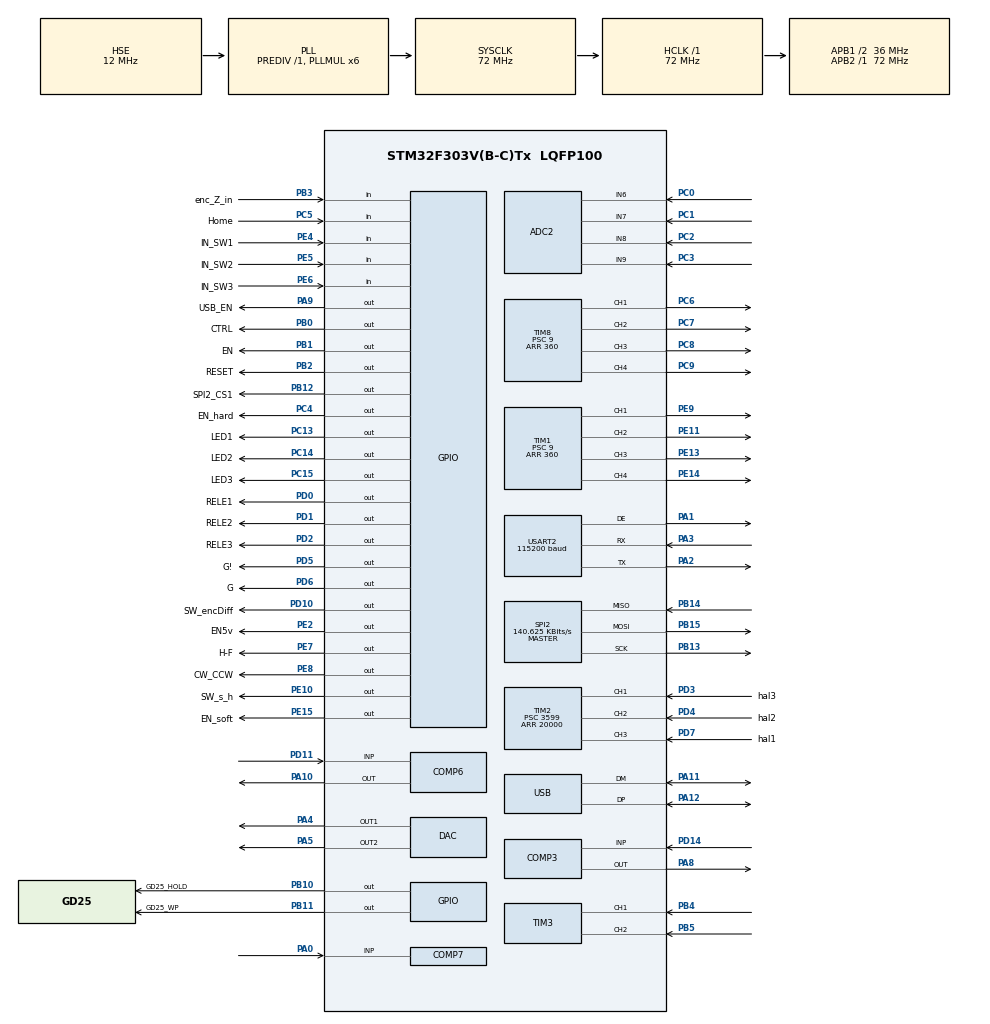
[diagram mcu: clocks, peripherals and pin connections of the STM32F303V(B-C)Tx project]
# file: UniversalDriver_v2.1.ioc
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ADC1.Channel-0\#ChannelRegularConversion=ADC_CHANNEL_6
ADC1.NbrOfConversionFlag=1
ADC1.Offset-0\#ChannelRegularConversion=0
ADC1.OffsetNumber-0\#ChannelRegularConversion=ADC_OFFSET_NONE
ADC1.Rank-0\#ChannelRegularConversion=1
ADC1.SamplingTime-0\#ChannelRegularConversion=ADC_SAMPLETIME_1CYCLE_5
ADC1.master=1
ADC2.Channel-0\#ChannelRegularConversion=ADC_CHANNEL_9
ADC2.NbrOfConversionFlag=1
ADC2.Offset-0\#ChannelRegularConversion=0
ADC2.OffsetNumber-0\#ChannelRegularConversion=ADC_OFFSET_NONE
ADC2.Rank-0\#ChannelRegularConversion=1
ADC2.SamplingTime-0\#ChannelRegularConversion=ADC_SAMPLETIME_1CYCLE_5
COMP3.InvertingInput=COMP_INVERTINGINPUT_DAC1_CH2
COMP6.InvertingInput=COMP_INVERTINGINPUT_DAC1_CH2
COMP7.InvertingInput=COMP_INVERTINGINPUT_DAC1_CH2
FREERTOS.INCLUDE_vTaskDelayUntil=1
FREERTOS.Tasks01=mainTask,0,512,MainTask,Default,NULL,Dynamic,NULL,NULL;modBus,0,512,ModBus,Default,NULL,Dynamic,NULL,NULL;accel,0,128,Accel,Default,NULL,Dynamic,NULL,NULL
FREERTOS.configTOTAL_HEAP_SIZE=20480
Mcu.Family=STM32F3
Mcu.Name=STM32F303V(B-C)Tx
Mcu.Package=LQFP100
NVIC.PriorityGroup=NVIC_PRIORITYGROUP_4
NVIC.TIM1_TRG_COM_TIM17_IRQn=true\:5\:0\:false\:false\:true\:true\:true\:true
NVIC.TIM2_IRQn=true\:5\:0\:false\:false\:true\:true\:true\:true
NVIC.TIM6_DAC_IRQn=true\:5\:0\:false\:false\:true\:true\:true\:true
NVIC.TIM7_IRQn=true\:0\:0\:false\:false\:true\:false\:false\:true
NVIC.TimeBase=TIM7_IRQn
NVIC.TimeBaseIP=TIM7
NVIC.USART2_IRQn=true\:5\:0\:false\:false\:true\:true\:true\:true
NVIC.USB_LP_CAN_RX0_IRQn=true\:5\:0\:false\:false\:true\:true\:false\:true
PA0.Mode=INP
PA0.Signal=COMP7_INP
PA1.Mode=Hardware Flow Control (RS485)
PA1.Signal=USART2_DE
PA10.Mode=ExternalOutput
PA10.Signal=COMP6_OUT
PA11.Mode=Device
PA11.Signal=USB_DM
PA12.Mode=Device
PA12.Signal=USB_DP
PA13.Mode=Serial_Wire
PA13.Signal=SYS_JTMS-SWDIO
PA14.Mode=Serial_Wire
PA14.Signal=SYS_JTCK-SWCLK
PA2.Mode=Asynchronous
PA2.Signal=USART2_TX
PA3.Mode=Asynchronous
PA3.Signal=USART2_RX
PA4.Signal=COMP_DAC1_group
PA5.Signal=COMP_DAC2_group
PA6.Signal=TIM1_BKIN
PA7.Signal=S_TIM17_CH1
PA8.Mode=ExternalOutput
PA8.Signal=COMP3_OUT
PA9.GPIO_Label=USB_EN
PA9.Signal=GPIO_Output
PB0.GPIO_Label=CTRL
PB0.Signal=GPIO_Output
PB1.GPIO_Label=EN
PB1.Signal=GPIO_Output
PB10.GPIO_Label=GD25_HOLD
PB10.Signal=GPIO_Output
PB11.GPIO_Label=GD25_WP
PB11.Signal=GPIO_Output
PB12.GPIO_Label=SPI2_CS1
PB12.Signal=GPIO_Output
PB13.Mode=Full_Duplex_Master
PB13.Signal=SPI2_SCK
PB14.Mode=Full_Duplex_Master
PB14.Signal=SPI2_MISO
PB15.Mode=Full_Duplex_Master
PB15.Signal=SPI2_MOSI
PB2.GPIO_Label=RESET
PB2.Signal=GPIO_Output
PB3.GPIO_Label=enc_Z_in
PB3.Signal=GPIO_Input
PB4.Signal=S_TIM3_CH1
PB5.Signal=S_TIM3_CH2
PB6.Signal=TIM8_BKIN2
PB7.Signal=TIM8_BKIN
PB8.Signal=CAN_RX
PB9.Signal=CAN_TX
PC0.Signal=ADCx_IN6
PC1.Signal=ADCx_IN7
PC13.GPIO_Label=LED1
PC13.Signal=GPIO_Output
PC14-OSC32_IN.GPIO_Label=LED2
PC14-OSC32_IN.Signal=GPIO_Output
PC15-OSC32_OUT.GPIO_Label=LED3
PC15-OSC32_OUT.Signal=GPIO_Output
PC2.Signal=ADCx_IN8
PC3.Signal=ADCx_IN9
PC4.GPIO_Label=EN_hard
PC4.Signal=GPIO_Output
PC5.GPIO_Label=Home
PC5.Signal=GPIO_Input
PC6.Signal=S_TIM8_CH1
PC7.Signal=S_TIM8_CH2
PC8.Signal=S_TIM8_CH3
PC9.Signal=S_TIM8_CH4
PD0.GPIO_Label=RELE1
PD0.Signal=GPIO_Output
PD1.GPIO_Label=RELE2
PD1.Signal=GPIO_Output
PD10.GPIO_Label=SW_encDiff
PD10.Signal=GPIO_Output
PD11.Mode=INP
PD11.Signal=COMP6_INP
PD12.Signal=USART3_DE
PD14.Mode=INP
PD14.Signal=COMP3_INP
PD2.GPIO_Label=RELE3
PD2.Signal=GPIO_Output
PD3.GPIO_Label=hal3
PD3.Signal=S_TIM2_CH1_ETR
PD4.GPIO_Label=hal2
PD4.Signal=S_TIM2_CH2
PD5.GPIO_Label=G\!
PD5.Signal=GPIO_Output
PD6.GPIO_Label=G
PD6.Signal=GPIO_Output
PD7.GPIO_Label=hal1
PD7.Signal=S_TIM2_CH3
PD8.Signal=USART3_TX
PD9.Signal=USART3_RX
PE10.GPIO_Label=SW_s_h
PE10.Signal=GPIO_Output
PE11.Signal=S_TIM1_CH2
PE13.Signal=S_TIM1_CH3
PE14.Signal=S_TIM1_CH4
PE15.GPIO_Label=EN_soft
PE15.Signal=GPIO_Output
PE2.GPIO_Label=EN5v
PE2.Signal=GPIO_Output
PE4.GPIO_Label=IN_SW1
PE4.Signal=GPIO_Input
PE5.GPIO_Label=IN_SW2
PE5.Signal=GPIO_Input
PE6.GPIO_Label=IN_SW3
PE6.Signal=GPIO_Input
PE7.GPIO_Label=H-F
PE7.Signal=GPIO_Output
PE8.GPIO_Label=CW_CCW
PE8.Signal=GPIO_Output
PE9.Signal=S_TIM1_CH1
PF0-OSC_IN.Mode=HSE-External-Oscillator
PF0-OSC_IN.Signal=RCC_OSC_IN
PF1-OSC_OUT.Mode=HSE-External-Oscillator
PF1-OSC_OUT.Signal=RCC_OSC_OUT
ProjectManager.HeapSize=0x1000
ProjectManager.StackSize=0x400
ProjectManager.TargetToolchain=EWARM V8.32
RCC.AHBFreq_Value=72000000
RCC.APB1CLKDivider=RCC_HCLK_DIV2
RCC.APB1Freq_Value=36000000
RCC.APB1TimFreq_Value=72000000
RCC.APB2Freq_Value=72000000
RCC.APB2TimFreq_Value=72000000
RCC.CortexFreq_Value=72000000
RCC.HCLKFreq_Value=72000000
RCC.HSE_VALUE=12000000
RCC.HSI_VALUE=8000000
RCC.LSE_VALUE=32768
RCC.PLLMUL=RCC_PLL_MUL6
RCC.PRESCALERUSB=RCC_USBCLKSOURCE_PLL_DIV1_5
RCC.SYSCLKFreq_VALUE=72000000
RCC.SYSCLKSourceVirtual=RCC_SYSCLKSOURCE_PLLCLK
RCC.USBFreq_Value=48000000
SH.ADCx_IN6.0=ADC2_IN6,IN6-Single-Ended
SH.ADCx_IN6.1=ADC1_IN6,IN6-Single-Ended
SH.ADCx_IN7.0=ADC2_IN7,IN7-Single-Ended
SH.ADCx_IN7.1=ADC1_IN7,IN7-Single-Ended
SH.ADCx_IN8.0=ADC2_IN8,IN8-Single-Ended
SH.ADCx_IN8.1=ADC1_IN8,IN8-Single-Ended
SH.ADCx_IN9.0=ADC2_IN9,IN9-Single-Ended
SH.ADCx_IN9.1=ADC1_IN9,IN9-Single-Ended
SH.COMP_DAC1_group.0=DAC_OUT1,DAC_OUT1
SH.COMP_DAC2_group.0=DAC_OUT2,Enable_DAC_OUT2
SH.S_TIM17_CH1.0=TIM17_CH1
SH.S_TIM1_CH1.0=TIM1_CH1,PWM Generation1 CH1
SH.S_TIM1_CH2.0=TIM1_CH2,PWM Generation2 CH2
SH.S_TIM1_CH3.0=TIM1_CH3,PWM Generation3 CH3
SH.S_TIM1_CH4.0=TIM1_CH4,PWM Generation4 CH4
SH.S_TIM2_CH1_ETR.0=TIM2_CH1,Xored_Inputs_Hall_Sensor_Interface
SH.S_TIM2_CH2.0=TIM2_CH2,Xored_Inputs_Hall_Sensor_Interface
SH.S_TIM2_CH3.0=TIM2_CH3,Xored_Inputs_Hall_Sensor_Interface
SH.S_TIM3_CH1.0=TIM3_CH1,Encoder_Interface
SH.S_TIM3_CH2.0=TIM3_CH2,Encoder_Interface
SH.S_TIM8_CH1.0=TIM8_CH1,PWM Generation1 CH1
SH.S_TIM8_CH2.0=TIM8_CH2,PWM Generation2 CH2
SH.S_TIM8_CH3.0=TIM8_CH3,PWM Generation3 CH3
SH.S_TIM8_CH4.0=TIM8_CH4,PWM Generation4 CH4
SPI2.BaudRatePrescaler=SPI_BAUDRATEPRESCALER_256
SPI2.CLKPhase=SPI_PHASE_1EDGE
SPI2.CLKPolarity=SPI_POLARITY_LOW
SPI2.CalculateBaudRate=140.625 KBits/s
SPI2.DataSize=SPI_DATASIZE_8BIT
SPI2.Direction=SPI_DIRECTION_2LINES
SPI2.Mode=SPI_MODE_MASTER
SPI2.VirtualType=VM_MASTER
TIM1.Channel-PWM\ Generation1\ CH1=TIM_CHANNEL_1
TIM1.Channel-PWM\ Generation2\ CH2=TIM_CHANNEL_2
TIM1.Channel-PWM\ Generation3\ CH3=TIM_CHANNEL_3
TIM1.Channel-PWM\ Generation4\ CH4=TIM_CHANNEL_4
TIM1.Period=360
TIM1.Prescaler=9
TIM1.TIM_MasterOutputTrigger=TIM_TRGO_OC1REF
TIM2.AutoReloadPreload=TIM_AUTORELOAD_PRELOAD_ENABLE
TIM2.Period=20000
TIM2.Prescaler=3599
TIM4.Prescaler=1
TIM6.Prescaler=71
TIM8.Channel-PWM\ Generation1\ CH1=TIM_CHANNEL_1
TIM8.Channel-PWM\ Generation2\ CH2=TIM_CHANNEL_2
TIM8.Channel-PWM\ Generation3\ CH3=TIM_CHANNEL_3
TIM8.Channel-PWM\ Generation4\ CH4=TIM_CHANNEL_4
TIM8.Period=360
TIM8.Prescaler=9
USART2.BaudRate=115200
USART2.VirtualMode-Asynchronous=VM_ASYNC
USART2.VirtualMode-Hardware\ Flow\ Control\ (RS485)=VM_ASYNC
USB.low_power_enable=DISABLE
USB.lpm_enable=DISABLE
USB_DEVICE.CLASS_NAME_FS=CDC
USB_DEVICE.PRODUCT_STRING_CDC_FS=Motor Controller
USB_DEVICE.VirtualMode=Cdc
USB_DEVICE.VirtualModeFS=Cdc_FS
VP_COMP3_VS_DAC1OUT2.Mode=INM_DACOUT2
VP_COMP6_VS_DAC1OUT2.Mode=INM_DACOUT2
VP_COMP7_VS_DAC1OUT2.Mode=INM_DACOUT2
VP_FREERTOS_VS_CMSIS_V1.Mode=CMSIS_V1
VP_SYS_VS_tim7.Mode=TIM7
VP_TIM16_VS_ClockSourceINT.Mode=Enable_Timer
VP_TIM17_VS_ClockSourceINT.Mode=Enable_Timer
VP_TIM4_VS_ClockSourceITR.Mode=TriggerSource_ITR0
VP_TIM4_VS_ControllerModeClock.Mode=Clock Mode
VP_TIM6_VS_ClockSourceINT.Mode=Enable_Timer
VP_USB_DEVICE_VS_USB_DEVICE_CDC_FS.Mode=CDC_FS
board=custom

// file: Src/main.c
/* USER CODE BEGIN Header */
/**
******************************************************************************
* @file           : main.c
* @brief          : Main program body
******************************************************************************
* @attention
*
* <h2><center>&copy; Copyright (c) 2020 STMicroelectronics.
* All rights reserved.</center></h2>
*
* This software component is licensed by ST under Ultimate Liberty license
* SLA0044, the "License"; You may not use this file except in compliance with
* the License. You may obtain a copy of the License at:
*                             www.st.com/SLA0044
*
******************************************************************************
*/
/* USER CODE END Header */

#include "main.h"
#include "cmsis_os.h"
#include "adc.h"
#include "comp.h"
#include "dac.h"
#include "spi.h"
#include "tim.h"
#include "usart.h"
#include "usb_device.h"
#include "gpio.h"

/* USER CODE BEGIN Includes */
#include "motor.hpp"
#include "flash.h"
#include "Delay_us_DWT.h"
#include "LED.h"
/* USER CODE END Includes */

/* USER CODE BEGIN PV */
char str_rx[21]; // для usb
uint32_t count_tic = 0; //для замеров времены выполнения кода
extern TIM_HandleTypeDef htim3;
settings_t settings = {115200, 0x0D, 0};

//step_motor stepper(&hdac, DAC_CHANNEL_1, &htim2, &htim1, &htim6);
BLDC_motor BLDC(&htim8, &htim1, &htim2, &htim3);
led LED_rs485;
led LED_error;
led LED_OSstart;

base_motor *pMotor;
/* USER CODE END PV */

void SystemClock_Config(void);
void MX_FREERTOS_Init(void);

int main(void)
{

  /* MCU Configuration--------------------------------------------------------*/

  /* Reset of all peripherals, Initializes the Flash interface and the Systick. */
  HAL_Init();

  /* Configure the system clock */
  SystemClock_Config();

  /* Initialize all configured peripherals */
  MX_GPIO_Init();
  MX_ADC1_Init();
  MX_ADC2_Init();
  MX_DAC_Init();
  MX_SPI2_Init();
  MX_TIM1_Init();
  MX_TIM2_Init();
  MX_TIM3_Init();
  MX_TIM8_Init();
  MX_USART2_UART_Init();
  MX_COMP3_Init();
  MX_COMP6_Init();
  MX_COMP7_Init();
  MX_TIM4_Init();
  MX_TIM6_Init();
  MX_TIM16_Init();
  MX_TIM17_Init();
  /* USER CODE BEGIN 2 */
  DWT_Init();

  HAL_GPIO_WritePin(EN5v_GPIO_Port, EN5v_Pin, GPIO_PIN_SET); // on 5v

  Flash_ReadParams(&settings, StartSettingsAddres);

  if((settings.BaudRate == 0) | (settings.BaudRate == 0xFFFFFFFF))
    {

      settings.BaudRate = 115200;
      settings.SlaveAddress = 0x0D;
      settings.motorType = 0;
      FLASH_WriteSettings(settings, StartSettingsAddres);
    }
   //HAL_TIM_PWM_Start_IT(&htim17, TIM_CHANNEL_1); // start PWM

   //HAL_TIM_OC_Start(&htim8, TIM_CHANNEL_4);

   pMotor = &BLDC;
  HAL_Delay(500);
  /* USER CODE END 2 */

  /* Call init function for freertos objects (in freertos.c) */
  MX_FREERTOS_Init();
  /* Start scheduler */
  osKernelStart();

  /* We should never get here as control is now taken by the scheduler */
  /* Infinite loop */
   while (1)
   {

  }
}

void SystemClock_Config(void)
{
  RCC_OscInitTypeDef RCC_OscInitStruct = {0};
  RCC_ClkInitTypeDef RCC_ClkInitStruct = {0};
  RCC_PeriphCLKInitTypeDef PeriphClkInit = {0};

  /** Initializes the CPU, AHB and APB busses clocks
  */
  RCC_OscInitStruct.OscillatorType = RCC_OSCILLATORTYPE_HSE;
  RCC_OscInitStruct.HSEState = RCC_HSE_ON;
  RCC_OscInitStruct.HSEPredivValue = RCC_HSE_PREDIV_DIV1;
  RCC_OscInitStruct.HSIState = RCC_HSI_ON;
  RCC_OscInitStruct.PLL.PLLState = RCC_PLL_ON;
  RCC_OscInitStruct.PLL.PLLSource = RCC_PLLSOURCE_HSE;
  RCC_OscInitStruct.PLL.PLLMUL = RCC_PLL_MUL6;
  if (HAL_RCC_OscConfig(&RCC_OscInitStruct) != HAL_OK)
  {
    Error_Handler();
  }
  /** Initializes the CPU, AHB and APB busses clocks
  */
  RCC_ClkInitStruct.ClockType = RCC_CLOCKTYPE_HCLK|RCC_CLOCKTYPE_SYSCLK
                              |RCC_CLOCKTYPE_PCLK1|RCC_CLOCKTYPE_PCLK2;
  RCC_ClkInitStruct.SYSCLKSource = RCC_SYSCLKSOURCE_PLLCLK;
  RCC_ClkInitStruct.AHBCLKDivider = RCC_SYSCLK_DIV1;
  RCC_ClkInitStruct.APB1CLKDivider = RCC_HCLK_DIV2;
  RCC_ClkInitStruct.APB2CLKDivider = RCC_HCLK_DIV1;

  if (HAL_RCC_ClockConfig(&RCC_ClkInitStruct, FLASH_LATENCY_2) != HAL_OK)
  {
    Error_Handler();
  }
  PeriphClkInit.PeriphClockSelection = RCC_PERIPHCLK_USB|RCC_PERIPHCLK_USART2
                              |RCC_PERIPHCLK_TIM1|RCC_PERIPHCLK_TIM8
                              |RCC_PERIPHCLK_ADC12;
  PeriphClkInit.Usart2ClockSelection = RCC_USART2CLKSOURCE_PCLK1;
  PeriphClkInit.Adc12ClockSelection = RCC_ADC12PLLCLK_DIV1;
  PeriphClkInit.USBClockSelection = RCC_USBCLKSOURCE_PLL_DIV1_5;
  PeriphClkInit.Tim1ClockSelection = RCC_TIM1CLK_HCLK;
  PeriphClkInit.Tim8ClockSelection = RCC_TIM8CLK_HCLK;
  if (HAL_RCCEx_PeriphCLKConfig(&PeriphClkInit) != HAL_OK)
  {
    Error_Handler();
  }
}

/* USER CODE BEGIN 4 */
void HAL_TIM_IC_CaptureCallback(TIM_HandleTypeDef *htim){
  if(htim->Instance == TIM2){
    pMotor->SensHandler();
  }
}
void HAL_UART_RxCpltCallback(UART_HandleTypeDef *huart){
   LED_rs485.LEDon(1);
}
/* USER CODE END 4 */

 /**
  * @brief  Period elapsed callback in non blocking mode
  * @note   This function is called  when TIM7 interrupt took place, inside
  * HAL_TIM_IRQHandler(). It makes a direct call to HAL_IncTick() to increment
  * a global variable "uwTick" used as application time base.
  * @param  htim : TIM handle
  * @retval None
  */
void HAL_TIM_PeriodElapsedCallback(TIM_HandleTypeDef *htim)
{
  /* USER CODE BEGIN Callback 0 */
  //   if(htim->Instance == TIM2){
  //     pMotor->stop();
  //   }
  if(htim->Instance == TIM6){
    pMotor->AccelHandler();
  }
  /* USER CODE END Callback 0 */
  if (htim->Instance == TIM7) {
    HAL_IncTick();
  }
}

void Error_Handler(void)
{
}

/************************ (C) COPYRIGHT STMicroelectronics *****END OF FILE****/

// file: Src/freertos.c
/* USER CODE BEGIN Header */
/**
******************************************************************************
* File Name          : freertos.c
* Description        : Code for freertos applications
******************************************************************************
* @attention
*
* <h2><center>&copy; Copyright (c) 2020 STMicroelectronics.
* All rights reserved.</center></h2>
*
* This software component is licensed by ST under Ultimate Liberty license
* SLA0044, the "License"; You may not use this file except in compliance with
* the License. You may obtain a copy of the License at:
*                             www.st.com/SLA0044
*
******************************************************************************
*/
/* USER CODE END Header */

#include "FreeRTOS.h"
#include "task.h"
#include "main.h"
#include "cmsis_os.h"

/* USER CODE BEGIN Includes */
#include "mb.h"
#include "mbport.h"
#include "motor.hpp"
#include "flash.h"
#include "LED.h"

using namespace std;
/* USER CODE END Includes */

/* USER CODE BEGIN Variables */
extern settings_t settings;
extern TIM_HandleTypeDef htim17;
extern TIM_HandleTypeDef htim1;
extern TIM_HandleTypeDef htim8;
extern DAC_HandleTypeDef hdac;
extern SPI_HandleTypeDef hspi2;

//extern step_motor stepper;
extern BLDC_motor BLDC;
extern base_motor *pMotor;
extern led LED_rs485;
extern led LED_error;
extern led LED_OSstart;

//переменные для дебага
int Start = false;
bool DR = false;
uint32_t steps = 200;
uint32_t tempSpeed = 200;
dir dir1 = dir::CW;
/* USER CODE END Variables */
osThreadId mainTaskHandle;
osThreadId modBusHandle;
osThreadId accelHandle;

/* USER CODE BEGIN FunctionPrototypes */
// extern "C"
/* USER CODE END FunctionPrototypes */

void MainTask(void const * argument);
void ModBus(void const * argument);
void Accel(void const * argument);

extern "C" void MX_USB_DEVICE_Init(void);
void MX_FREERTOS_Init(void); /* (MISRA C 2004 rule 8.1) */

/* GetIdleTaskMemory prototype (linked to static allocation support) */
extern "C" void vApplicationGetIdleTaskMemory( StaticTask_t **ppxIdleTaskTCBBuffer, StackType_t **ppxIdleTaskStackBuffer, uint32_t *pulIdleTaskStackSize );

/* USER CODE BEGIN GET_IDLE_TASK_MEMORY */
static StaticTask_t xIdleTaskTCBBuffer;
static StackType_t xIdleStack[configMINIMAL_STACK_SIZE];

void vApplicationGetIdleTaskMemory( StaticTask_t **ppxIdleTaskTCBBuffer, StackType_t **ppxIdleTaskStackBuffer, uint32_t *pulIdleTaskStackSize )
{
   *ppxIdleTaskTCBBuffer = &xIdleTaskTCBBuffer;
   *ppxIdleTaskStackBuffer = &xIdleStack[0];
   *pulIdleTaskStackSize = configMINIMAL_STACK_SIZE;
   /* place for user code */
}
/* USER CODE END GET_IDLE_TASK_MEMORY */

void MX_FREERTOS_Init(void) {

  /* Create the thread(s) */
  /* definition and creation of mainTask */
  osThreadDef(mainTask, MainTask, osPriorityNormal, 0, 512);
  mainTaskHandle = osThreadCreate(osThread(mainTask), NULL);

  /* definition and creation of modBus */
  osThreadDef(modBus, ModBus, osPriorityNormal, 0, 512);
  modBusHandle = osThreadCreate(osThread(modBus), NULL);

  /* definition and creation of accel */
  osThreadDef(accel, Accel, osPriorityNormal, 0, 128);
  accelHandle = osThreadCreate(osThread(accel), NULL);

}

void MainTask(void const * argument)
{
  /* init code for USB_DEVICE */
  MX_USB_DEVICE_Init();
  /* USER CODE BEGIN MainTask */
   //    uint8_t TxBuff[10] = {0x05};
   //    uint8_t RxBuff[50] = {0};
   //    uint16_t Size = 1;
   //    HAL_StatusTypeDef StatusSPI2;
   // переподключение USB
   osDelay(20);
   HAL_GPIO_WritePin(USB_EN_GPIO_Port, USB_EN_Pin, GPIO_PIN_SET);
   osDelay(20);
   HAL_GPIO_WritePin(USB_EN_GPIO_Port, USB_EN_Pin, GPIO_PIN_RESET);

   pMotor->Init();
   LED_rs485.Init(LED3_GPIO_Port, LED3_Pin);
   LED_error.Init(LED1_GPIO_Port, LED1_Pin);
   LED_OSstart.Init(LED2_GPIO_Port, LED2_Pin);
   LED_OSstart.setParameters(mode::BLINK, 2000, 100);
   LED_OSstart.LEDon();
   /* Infinite loop */
   HAL_GPIO_WritePin(GD25_HOLD_GPIO_Port, GD25_HOLD_Pin, GPIO_PIN_SET);
   HAL_GPIO_WritePin(GD25_WP_GPIO_Port, GD25_WP_Pin, GPIO_PIN_SET);

   uint32_t tickcount = osKernelSysTick();// переменная для точной задержки

   for(;;)
   {
      LED_rs485.poll();
      LED_error.poll();
      LED_OSstart.poll();
      pMotor->timeout++;

      if((pMotor->timeout == 10000) & (pMotor->getStatusRotation() == statusMotor::MOTION)){
         pMotor->stop();
      }
      //HAL_GPIO_TogglePin(clock_GPIO_Port, clock_Pin);

      // тестирование флешки
      //        HAL_GPIO_WritePin(SPI2_CS1_GPIO_Port, SPI2_CS1_Pin, GPIO_PIN_RESET);
      //        StatusSPI2 = HAL_SPI_Transmit(&hspi2, TxBuff, 1, 100);
      //        HAL_Delay(100);
      //        StatusSPI2 = HAL_SPI_Receive(&hspi2, RxBuff, Size, 100);
      //        StatusSPI2 = StatusSPI2;
      //        HAL_GPIO_WritePin(SPI2_CS1_GPIO_Port, SPI2_CS1_Pin, GPIO_PIN_SET);
      //
      if(Start == 1){
         Start = 0;

         //         TIM8->CNT = 0;
         //         TIM2->CNT = 0;
         //         HAL_TIM_OC_Start(&htim8, TIM_CHANNEL_4);

         pMotor->start();

         //         if(DR){
         //            BLDC.DirectCW();
         //         }else{
         //            BLDC.DirectCCW();
         //         }
         //         BLDC.start();

      }
      if(Start == 2){
         Start = 0;
         //         BLDC.stop();
         //HAL_TIM_OC_Stop(&htim8, TIM_CHANNEL_4);
         pMotor->deceleration();

      }
      if(Start == 3){
         Start = 0;
         pMotor->goTo(steps, dir1);

      }
      if(Start == 4){
         Start = 0;
         pMotor->goTo(steps, dir::CCW);
      }
      if(Start == 5){
        Start = 0;
        pMotor->changeSpeed(tempSpeed);
      }

      //taskYIELD();
      osDelayUntil(&tickcount, 1); // задача будет вызываься ровро через 1 милисекунду
   }
  /* USER CODE END MainTask */
}

void ModBus(void const * argument)
{
  /* USER CODE BEGIN ModBus */
   /* Infinite loop */
   eMBErrorCode eStatus = eMBInit( MB_RTU, settings.SlaveAddress, 3, settings.BaudRate, MB_PAR_NONE );
   eStatus = eMBEnable();
   //HAL_TIM_Base_Start_IT(&htim17);
   for(;;)
   {
      eMBPoll();
      taskYIELD();
   }
  /* USER CODE END ModBus */
}

void Accel(void const * argument)
{
  /* USER CODE BEGIN Accel */
  /* Infinite loop */
  uint32_t tickcount = osKernelSysTick();// переменная для точной задержки
  for(;;)
  {

    pMotor->AccelHandler();
    //osDelay(1);
    osDelayUntil(&tickcount, 10); // задача будет вызываься ровро через 1 милисекунду
  }
  /* USER CODE END Accel */
}

/* USER CODE BEGIN Application */
/*description https://www.freemodbus.org/api/group__modbus__registers.html*/
//0x04
eMBErrorCode
eMBRegInputCB( UCHAR * pucRegBuffer, USHORT usAddress, USHORT usNRegs )
{
   eMBErrorCode    eStatus = MB_ENOERR;

   return eStatus;
}
//0x03 0x06 0x10
eMBErrorCode
eMBRegHoldingCB( UCHAR * pucRegBuffer, USHORT usAddress, USHORT usNRegs, eMBRegisterMode eMode )
{
   //uint8_t CMD[5] = {0};
   volatile HAL_StatusTypeDef status;

   if(usAddress == 0 ){}
   else{usAddress--;}

   eMBErrorCode    eStatus = MB_ENOERR;

   switch (eMode)
   {
     case MB_REG_READ:
      {
         switch (usAddress)
         {
           case 0: //  Stop/Start
            {

               break;
            }
           case 1: // Dir
            {

               break;
            }
           case 2: //Status start/stop
            {
               *pucRegBuffer = (UCHAR)BLDC.getStatusRotation();
               break;
            }
           case 3: //Status Dir
            {
               *pucRegBuffer = (UCHAR)BLDC.getStatusDirect();
               break;
            }
           case 4: // RPM
            {

               break;
            }
           case 5: //
            {
               break;
            }
           case 6: //
            {

               break;
            }
           case 7: //
            {
               break;
            }
           case 8:
            {

               break;
            }
           case 9:
            {

               break;
            }
           case 10:
            {

               break;
            }

           default:
            {
               eStatus = MB_ENOREG;
               break;
            }
         }

         break;
      }
     case MB_REG_WRITE:
      {

         switch (usAddress)
         {
           case 0: //  Stop/Start
            {

               if((!*(pucRegBuffer+1)) && (pMotor->getStatusRotation() == statusMotor :: MOTION)){
                  pMotor->deceleration();
                  //osDelay(10);
                  pMotor->removeBreak(false);
               }else if(pMotor->getStatusRotation() == statusMotor :: STOPPED){
                  pMotor->removeBreak(true);
                  //osDelay(100);
                  pMotor->start();

               }
               break;
            }
           case 1: // Dir
            {
               if(!*(pucRegBuffer+1)){
                  pMotor->deceleration();
                  //osDelay(100);
                  pMotor->SetDirection(dir::CW);
                  //pMotor->start();
               }else{
                  pMotor->deceleration();
                  //osDelay(100);
                  pMotor->SetDirection(dir::CCW);
                  //pMotor->start();
               }
               break;
            }
           case 2:
            {

               break;
            }
           case 3:
            {

               break;
            }
           case 4: //
            {
               uint16_t temp = 0;
               temp = temp | (*(pucRegBuffer) << 8);
               temp = temp | *(pucRegBuffer+1);
               pMotor->changeSpeed(temp);
               break;
            }
           case 5: //
            {
               break;
            }
           case 6: //
            {

               break;
            }
           case 7: //
            {
               break;
            }
           case 8:
            {
               FLASH_WriteSettings(settings, StartSettingsAddres);
               break;
            }
           case 9:
            {
               settings.BaudRate = ((*(pucRegBuffer)<<8) | (*(pucRegBuffer+1)))*10;
               break;
            }
           case 10:
            {
               settings.SlaveAddress = *(pucRegBuffer+1);
               break;
            }
           default:
            {
               eStatus = MB_ENOREG;
               break;
            }
         }
         break;
      }
     default:
      {
         eStatus = MB_EINVAL;
         break;
      }
   }

   return eStatus;
}

// 0x01 0x0f 0x05
eMBErrorCode
eMBRegCoilsCB( UCHAR * pucRegBuffer, USHORT usAddress, USHORT usNCoils, eMBRegisterMode eMode )
{
   return MB_ENOREG;
}
//0x02
eMBErrorCode
eMBRegDiscreteCB( UCHAR * pucRegBuffer, USHORT usAddress, USHORT usNDiscrete )
{
   return MB_ENOREG;
}

/******************************************************************************************************
Handlers
******************************************************************************************************/

void HAL_GPIO_EXTI_Callback(uint16_t GPIO_Pin){
   //   if((GPIO_Pin == sens1_Pin)|(GPIO_Pin == sens2_Pin)){
   //      pMotor->SensHandler();
   //   }
   //   if((GPIO_Pin == zeroD_Pin) & (DR)){
   //     HAL_TIM_OC_Stop(&htim8, TIM_CHANNEL_4);
   //   }
}

/* USER CODE END Application */

/************************ (C) COPYRIGHT STMicroelectronics *****END OF FILE****/
